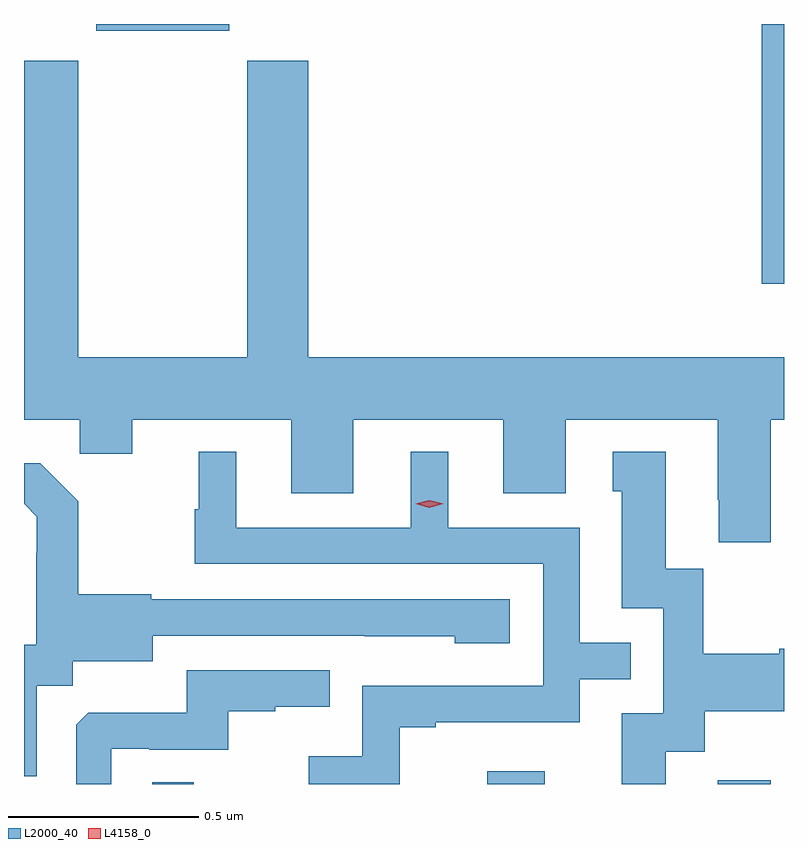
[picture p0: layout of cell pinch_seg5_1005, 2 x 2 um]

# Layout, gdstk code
import gdstk
lib = gdstk.Library(unit=1e-6, precision=1e-09)
def R(c, l, rs):  # rectangles x0, y0, x1, y1
    for r in rs: c.add(gdstk.rectangle(r[:2], r[2:], *l))
def P(c, l, *ps):  # polygons
    for p in ps: c.add(gdstk.Polygon(p, *l))
L2000_40 = (2000, 40)
L4158_0 = (4158, 0)

pinch_seg5_1005 = lib.new_cell('pinch_seg5_1005')
R(pinch_seg5_1005, L2000_40, [(747.816,897.093,747.925,897.098), (748.697,897.093,748.849,897.127), (749.303,897.093,749.443,897.103), (749.419,898.41,749.478,899.093), (747.668,899.075,748.018,899.093)])
P(pinch_seg5_1005, L2000_40, [(749.443,898.052),(749.478,898.052),(749.478,898.216),(748.226,898.216),(748.226,898.996),(748.066,898.996),(748.066,898.216),(747.621,898.216),(747.621,898.996),(747.478,898.996),(747.478,898.052),(747.625,898.052),(747.625,897.962),(747.763,897.962),(747.763,898.052),(748.181,898.052),(748.181,897.858),(748.345,897.858),(748.345,898.052),(748.739,898.052),(748.739,897.858),(748.903,897.858),(748.903,898.052),(749.303,898.052),(749.303,897.841),(749.306,897.841),(749.306,897.729),(749.443,897.729)],
  [(748.467,897.243),(748.561,897.243),(748.561,897.255),(748.941,897.255),(748.941,897.369),(749.075,897.369),(749.075,897.465),(748.941,897.465),(748.941,897.768),(748.594,897.768),(748.594,897.967),(748.496,897.967),(748.496,897.768),(748.036,897.768),(748.036,897.967),(747.938,897.967),(747.938,897.816),(747.927,897.816),(747.927,897.672),(748.845,897.672),(748.845,897.351),(748.368,897.351),(748.368,897.166),(748.227,897.166),(748.227,897.093),(748.467,897.093)],
  [(749.167,897.178),(749.269,897.178),(749.269,897.284),(749.478,897.284),(749.478,897.449),(749.465,897.449),(749.465,897.436),(749.265,897.436),(749.265,897.659),(749.167,897.659),(749.167,897.967),(749.027,897.967),(749.027,897.864),(749.051,897.864),(749.051,897.555),(749.16,897.555),(749.16,897.279),(749.051,897.279),(749.051,897.093),(749.167,897.093)],
  [(747.511,897.352),(747.606,897.352),(747.606,897.416),(747.817,897.416),(747.817,897.483),(748.375,897.483),(748.375,897.482),(748.611,897.482),(748.611,897.464),(748.756,897.464),(748.756,897.579),(747.813,897.579),(747.813,897.592),(747.621,897.592),(747.621,897.837),(747.521,897.937),(747.478,897.937),(747.478,897.83),(747.512,897.796),(747.512,897.701),(747.51,897.701),(747.51,897.46),(747.478,897.46),(747.478,897.114),(747.511,897.114)],
  [(747.708,897.186),(747.808,897.186),(747.808,897.183),(748.016,897.183),(748.016,897.285),(748.139,897.285),(748.139,897.296),(748.283,897.296),(748.283,897.393),(747.906,897.393),(747.906,897.281),(747.647,897.281),(747.615,897.249),(747.615,897.093),(747.708,897.093)])
P(pinch_seg5_1005, L4158_0, [(748.545,897.82),(748.509,897.83),(748.509,897.83),(748.509,897.83),(748.545,897.84),(748.581,897.83),(748.581,897.83),(748.581,897.83)])

lib.write_gds('pinch_seg5_1005.gds')
